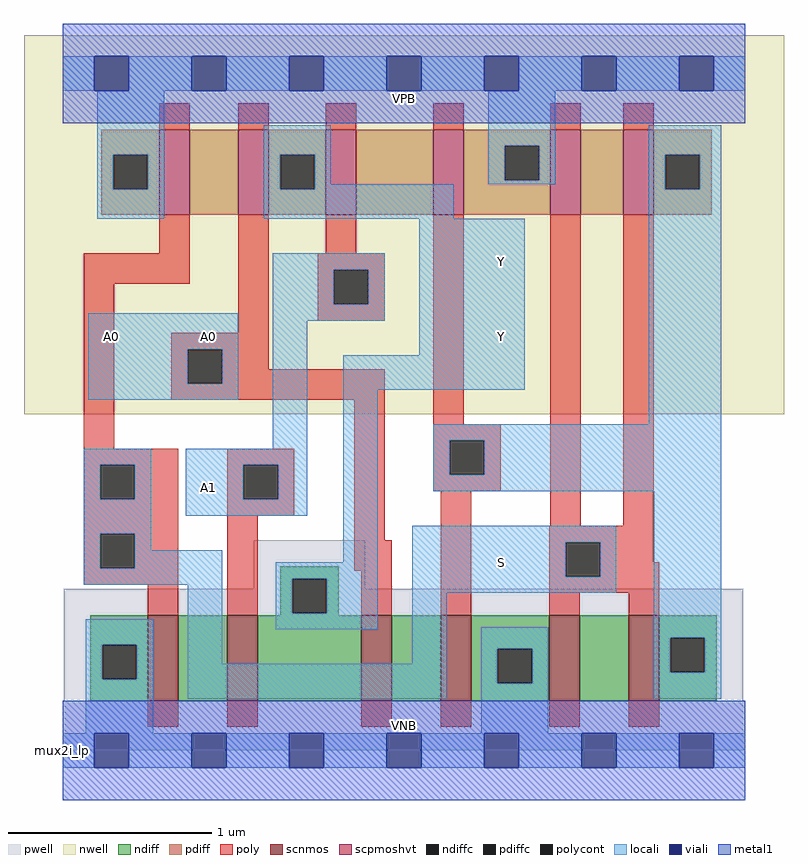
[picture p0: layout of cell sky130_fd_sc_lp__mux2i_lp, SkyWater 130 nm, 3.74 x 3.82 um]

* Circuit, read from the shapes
.subckt sky130_fd_sc_lp__mux2i_lp A0 A1 S VGND VNB VPB VPWR Y
XM1 n1 S VGND VNB sky130_fd_pr__nfet_01v8 w=0.42 l=0.15
XM2 Y A1 n1 VNB sky130_fd_pr__nfet_01v8 w=0.42 l=0.15
XM3 n2 A0 Y VNB sky130_fd_pr__nfet_01v8 w=0.42 l=0.15
XM4 VGND n3 n2 VNB sky130_fd_pr__nfet_01v8 w=0.42 l=0.15
XM5 n4 S VGND VNB sky130_fd_pr__nfet_01v8 w=0.42 l=0.15
XM6 n3 S n4 VNB sky130_fd_pr__nfet_01v8 w=0.42 l=0.15
XM7 n5 S VPWR VPB sky130_fd_pr__pfet_01v8_hvt w=0.42 l=0.15
XM8 Y A0 n5 VPB sky130_fd_pr__pfet_01v8_hvt w=0.42 l=0.15
XM9 n6 A1 Y VPB sky130_fd_pr__pfet_01v8_hvt w=0.42 l=0.15
XM10 VPWR n3 n6 VPB sky130_fd_pr__pfet_01v8_hvt w=0.42 l=0.15
XM11 n7 S VPWR VPB sky130_fd_pr__pfet_01v8_hvt w=0.42 l=0.15
XM12 n3 S n7 VPB sky130_fd_pr__pfet_01v8_hvt w=0.42 l=0.15
.ends

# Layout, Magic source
magic
tech sky130A
magscale 1 2
<< nwell >>
rect -38 331 710 704
<< pwell >>
rect 188 159 298 207
rect 1 49 670 159
rect 0 0 672 49
<< scnmos >>
rect 84 49 114 133
rect 162 49 192 133
rect 294 49 324 133
rect 372 49 402 133
rect 479 49 509 133
rect 557 49 587 133
<< scpmoshvt >>
rect 95 527 125 611
rect 173 527 203 611
rect 259 527 289 611
rect 365 527 395 611
rect 480 527 510 611
rect 552 527 582 611
<< ndiff >>
rect 214 169 272 181
rect 214 135 226 169
rect 260 135 272 169
rect 214 133 272 135
rect 27 104 84 133
rect 27 70 39 104
rect 73 70 84 104
rect 27 49 84 70
rect 114 49 162 133
rect 192 49 294 133
rect 324 49 372 133
rect 402 100 479 133
rect 402 66 428 100
rect 462 66 479 100
rect 402 49 479 66
rect 509 49 557 133
rect 587 111 644 133
rect 587 77 598 111
rect 632 77 644 111
rect 587 49 644 77
<< pdiff >>
rect 38 586 95 611
rect 38 552 50 586
rect 84 552 95 586
rect 38 527 95 552
rect 125 527 173 611
rect 203 586 259 611
rect 203 552 214 586
rect 248 552 259 586
rect 203 527 259 552
rect 289 527 365 611
rect 395 595 480 611
rect 395 561 435 595
rect 469 561 480 595
rect 395 527 480 561
rect 510 527 552 611
rect 582 586 639 611
rect 582 552 593 586
rect 627 552 639 586
rect 582 527 639 552
<< ndiffc >>
rect 226 135 260 169
rect 39 70 73 104
rect 428 66 462 100
rect 598 77 632 111
<< pdiffc >>
rect 50 552 84 586
rect 214 552 248 586
rect 435 561 469 595
rect 593 552 627 586
<< poly >>
rect 95 611 125 637
rect 173 611 203 637
rect 259 611 289 637
rect 365 611 395 637
rect 480 611 510 637
rect 552 611 582 637
rect 95 489 125 527
rect 21 459 125 489
rect 21 297 51 459
rect 173 411 203 527
rect 259 489 289 527
rect 251 473 317 489
rect 251 439 267 473
rect 301 439 317 473
rect 251 423 317 439
rect 107 395 203 411
rect 107 361 123 395
rect 157 375 203 395
rect 157 361 317 375
rect 107 345 317 361
rect 21 281 114 297
rect 21 247 37 281
rect 71 247 114 281
rect 21 213 114 247
rect 21 179 37 213
rect 71 179 114 213
rect 21 163 114 179
rect 84 133 114 163
rect 162 281 228 297
rect 162 247 178 281
rect 212 247 228 281
rect 162 231 228 247
rect 162 133 192 231
rect 287 207 317 345
rect 365 321 395 527
rect 365 305 431 321
rect 365 271 381 305
rect 415 271 431 305
rect 365 255 431 271
rect 287 177 324 207
rect 294 133 324 177
rect 372 133 402 255
rect 480 221 510 527
rect 552 221 582 527
rect 479 205 582 221
rect 479 171 495 205
rect 529 185 582 205
rect 529 171 587 185
rect 479 155 587 171
rect 479 133 509 155
rect 557 133 587 155
rect 84 23 114 49
rect 162 23 192 49
rect 294 23 324 49
rect 372 23 402 49
rect 479 23 509 49
rect 557 23 587 49
<< polycont >>
rect 267 439 301 473
rect 123 361 157 395
rect 37 247 71 281
rect 37 179 71 213
rect 178 247 212 281
rect 381 271 415 305
rect 495 171 529 205
<< locali >>
rect 0 649 31 683
rect 65 649 127 683
rect 161 649 223 683
rect 257 649 319 683
rect 353 649 415 683
rect 449 649 511 683
rect 545 649 607 683
rect 641 649 672 683
rect 34 586 100 649
rect 34 552 50 586
rect 84 552 100 586
rect 34 523 100 552
rect 198 586 264 615
rect 198 552 214 586
rect 248 557 264 586
rect 419 595 485 649
rect 419 561 435 595
rect 469 561 485 595
rect 419 557 485 561
rect 577 586 648 615
rect 248 552 385 557
rect 198 523 385 552
rect 577 552 593 586
rect 627 552 648 586
rect 207 473 317 489
rect 207 439 267 473
rect 301 439 317 473
rect 25 395 173 430
rect 25 361 123 395
rect 157 361 173 395
rect 25 345 173 361
rect 207 423 317 439
rect 207 297 241 423
rect 351 389 455 523
rect 21 281 87 297
rect 21 247 37 281
rect 71 247 87 281
rect 21 213 87 247
rect 121 281 241 297
rect 121 247 178 281
rect 212 247 241 281
rect 121 231 241 247
rect 276 355 455 389
rect 21 179 37 213
rect 71 197 87 213
rect 71 179 157 197
rect 276 185 310 355
rect 577 321 648 552
rect 365 305 648 321
rect 365 271 381 305
rect 415 271 648 305
rect 365 255 648 271
rect 21 163 157 179
rect 23 104 89 129
rect 23 70 39 104
rect 73 70 89 104
rect 23 17 89 70
rect 123 85 157 163
rect 210 169 310 185
rect 210 135 226 169
rect 260 135 310 169
rect 210 119 310 135
rect 344 205 545 221
rect 344 171 495 205
rect 529 171 545 205
rect 344 155 545 171
rect 344 85 378 155
rect 123 51 378 85
rect 412 100 478 121
rect 412 66 428 100
rect 462 66 478 100
rect 412 17 478 66
rect 582 111 648 255
rect 582 77 598 111
rect 632 77 648 111
rect 582 51 648 77
rect 0 -17 31 17
rect 65 -17 127 17
rect 161 -17 223 17
rect 257 -17 319 17
rect 353 -17 415 17
rect 449 -17 511 17
rect 545 -17 607 17
rect 641 -17 672 17
<< viali >>
rect 31 649 65 683
rect 127 649 161 683
rect 223 649 257 683
rect 319 649 353 683
rect 415 649 449 683
rect 511 649 545 683
rect 607 649 641 683
rect 31 -17 65 17
rect 127 -17 161 17
rect 223 -17 257 17
rect 319 -17 353 17
rect 415 -17 449 17
rect 511 -17 545 17
rect 607 -17 641 17
<< metal1 >>
rect 0 683 672 715
rect 0 649 31 683
rect 65 649 127 683
rect 161 649 223 683
rect 257 649 319 683
rect 353 649 415 683
rect 449 649 511 683
rect 545 649 607 683
rect 641 649 672 683
rect 0 617 672 649
rect 0 17 672 49
rect 0 -17 31 17
rect 65 -17 127 17
rect 161 -17 223 17
rect 257 -17 319 17
rect 353 -17 415 17
rect 449 -17 511 17
rect 545 -17 607 17
rect 641 -17 672 17
rect 0 -49 672 -17
<< labels >>
flabel pwell s 0 0 672 49 0 FreeSans 200 0 0 0 VNB
port 5 nsew ground bidirectional
flabel nwell s 0 617 672 666 0 FreeSans 200 0 0 0 VPB
port 6 nsew power bidirectional
rlabel comment s 0 0 0 0 4 mux2i_lp
flabel metal1 s 0 617 672 666 0 FreeSans 340 0 0 0 VPWR
port 7 nsew power bidirectional
flabel metal1 s 0 0 672 49 0 FreeSans 340 0 0 0 VGND
port 4 nsew ground bidirectional
flabel locali s 415 168 449 202 0 FreeSans 340 0 0 0 S
port 3 nsew signal input
flabel locali s 31 390 65 424 0 FreeSans 340 0 0 0 A0
port 1 nsew signal input
flabel locali s 127 390 161 424 0 FreeSans 340 0 0 0 A0
port 1 nsew signal input
flabel locali s 127 242 161 276 0 FreeSans 340 0 0 0 A1
port 2 nsew signal input
flabel locali s 415 390 449 424 0 FreeSans 340 0 0 0 Y
port 8 nsew signal output
flabel locali s 415 464 449 498 0 FreeSans 340 0 0 0 Y
port 8 nsew signal output
<< properties >>
string LEFsite unit
string LEFclass CORE
string FIXED_BBOX 0 0 672 666
string GDS_FILE $PDKPATH/libs.ref/sky130_fd_sc_lp/gds/sky130_fd_sc_lp.gds
string LEFsymmetry X Y R90
string GDS_END 3927116
string GDS_START 3921370
<< end >>
